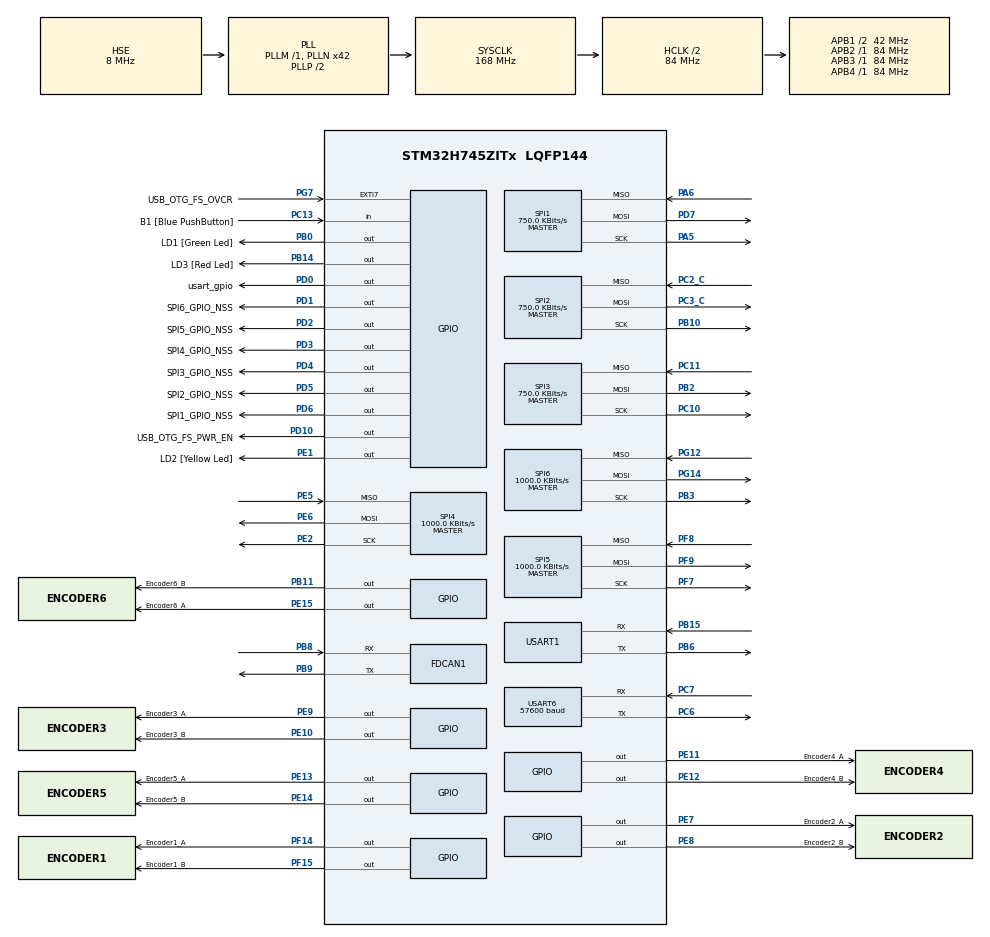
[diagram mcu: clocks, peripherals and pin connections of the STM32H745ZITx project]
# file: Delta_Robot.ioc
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CortexM4.IPs=FATFS_M4\:I,FREERTOS_M4\:I,IWDG2\:I,RCC,WWDG2\:I,DMA,BDMA,MDMA,NVIC2\:I,DEBUG,USB_DEVICE_M4\:I,USB_HOST_M4\:I,PDM2PCM_M4\:I,PWR,RESMGR_UTILITY,SYS_M4\:I,CORTEX_M4\:I,OPENAMP_M4\:I,VREFBUF,GPIO,TIM7
CortexM7.IPs=FATFS_M7\:I,FREERTOS_M7\:I,IWDG1\:I,RCC\:I,WWDG1\:I,DMA\:I,BDMA\:I,MDMA\:I,NVIC1\:I,SYS\:I,CORTEX_M7\:I,DEBUG\:I,USB_DEVICE_M7\:I,USB_HOST_M7\:I,PDM2PCM_M7\:I,PWR\:I,RESMGR_UTILITY\:I,OPENAMP_M7\:I,VREFBUF\:I,GPIO\:I,FDCAN1\:I,SPI1\:I,SPI2\:I,SPI3\:I,SPI4\:I,SPI5\:I,SPI6\:I,USART1\:I,TIM7\:I,USART6\:I
Dma.Request0=USART1_TX
Dma.Request1=USART1_RX
Dma.Request2=USART6_RX
Dma.Request3=USART6_TX
Dma.USART1_RX.1.Direction=DMA_PERIPH_TO_MEMORY
Dma.USART1_RX.1.EventEnable=DISABLE
Dma.USART1_RX.1.FIFOMode=DMA_FIFOMODE_DISABLE
Dma.USART1_RX.1.Instance=DMA1_Stream1
Dma.USART1_RX.1.MemDataAlignment=DMA_MDATAALIGN_BYTE
Dma.USART1_RX.1.MemInc=DMA_MINC_ENABLE
Dma.USART1_RX.1.Mode=DMA_CIRCULAR
Dma.USART1_RX.1.PeriphDataAlignment=DMA_PDATAALIGN_BYTE
Dma.USART1_RX.1.PeriphInc=DMA_PINC_DISABLE
Dma.USART1_RX.1.Polarity=HAL_DMAMUX_REQ_GEN_RISING
Dma.USART1_RX.1.Priority=DMA_PRIORITY_LOW
Dma.USART1_RX.1.RequestNumber=1
Dma.USART1_RX.1.SignalID=NONE
Dma.USART1_RX.1.SyncEnable=DISABLE
Dma.USART1_RX.1.SyncPolarity=HAL_DMAMUX_SYNC_NO_EVENT
Dma.USART1_RX.1.SyncRequestNumber=1
Dma.USART1_RX.1.SyncSignalID=NONE
Dma.USART1_TX.0.Direction=DMA_MEMORY_TO_PERIPH
Dma.USART1_TX.0.EventEnable=DISABLE
Dma.USART1_TX.0.FIFOMode=DMA_FIFOMODE_DISABLE
Dma.USART1_TX.0.Instance=DMA1_Stream0
Dma.USART1_TX.0.MemDataAlignment=DMA_MDATAALIGN_BYTE
Dma.USART1_TX.0.MemInc=DMA_MINC_ENABLE
Dma.USART1_TX.0.Mode=DMA_NORMAL
Dma.USART1_TX.0.PeriphDataAlignment=DMA_PDATAALIGN_BYTE
Dma.USART1_TX.0.PeriphInc=DMA_PINC_DISABLE
Dma.USART1_TX.0.Polarity=HAL_DMAMUX_REQ_GEN_RISING
Dma.USART1_TX.0.Priority=DMA_PRIORITY_LOW
Dma.USART1_TX.0.RequestNumber=1
Dma.USART1_TX.0.SignalID=NONE
Dma.USART1_TX.0.SyncEnable=DISABLE
Dma.USART1_TX.0.SyncPolarity=HAL_DMAMUX_SYNC_NO_EVENT
Dma.USART1_TX.0.SyncRequestNumber=1
Dma.USART1_TX.0.SyncSignalID=NONE
Dma.USART6_RX.2.Direction=DMA_PERIPH_TO_MEMORY
Dma.USART6_RX.2.EventEnable=DISABLE
Dma.USART6_RX.2.FIFOMode=DMA_FIFOMODE_DISABLE
Dma.USART6_RX.2.Instance=DMA1_Stream2
Dma.USART6_RX.2.MemDataAlignment=DMA_MDATAALIGN_BYTE
Dma.USART6_RX.2.MemInc=DMA_MINC_ENABLE
Dma.USART6_RX.2.Mode=DMA_CIRCULAR
Dma.USART6_RX.2.PeriphDataAlignment=DMA_PDATAALIGN_BYTE
Dma.USART6_RX.2.PeriphInc=DMA_PINC_DISABLE
Dma.USART6_RX.2.Polarity=HAL_DMAMUX_REQ_GEN_RISING
Dma.USART6_RX.2.Priority=DMA_PRIORITY_LOW
Dma.USART6_RX.2.RequestNumber=1
Dma.USART6_RX.2.SignalID=NONE
Dma.USART6_RX.2.SyncEnable=DISABLE
Dma.USART6_RX.2.SyncPolarity=HAL_DMAMUX_SYNC_NO_EVENT
Dma.USART6_RX.2.SyncRequestNumber=1
Dma.USART6_RX.2.SyncSignalID=NONE
Dma.USART6_TX.3.Direction=DMA_MEMORY_TO_PERIPH
Dma.USART6_TX.3.EventEnable=DISABLE
Dma.USART6_TX.3.FIFOMode=DMA_FIFOMODE_DISABLE
Dma.USART6_TX.3.Instance=DMA1_Stream3
Dma.USART6_TX.3.MemDataAlignment=DMA_MDATAALIGN_BYTE
Dma.USART6_TX.3.MemInc=DMA_MINC_ENABLE
Dma.USART6_TX.3.Mode=DMA_NORMAL
Dma.USART6_TX.3.PeriphDataAlignment=DMA_PDATAALIGN_BYTE
Dma.USART6_TX.3.PeriphInc=DMA_PINC_DISABLE
Dma.USART6_TX.3.Polarity=HAL_DMAMUX_REQ_GEN_RISING
Dma.USART6_TX.3.Priority=DMA_PRIORITY_LOW
Dma.USART6_TX.3.RequestNumber=1
Dma.USART6_TX.3.SignalID=NONE
Dma.USART6_TX.3.SyncEnable=DISABLE
Dma.USART6_TX.3.SyncPolarity=HAL_DMAMUX_SYNC_NO_EVENT
Dma.USART6_TX.3.SyncRequestNumber=1
Dma.USART6_TX.3.SyncSignalID=NONE
FDCAN1.AutoRetransmission=ENABLE
FDCAN1.CalculateBaudRateNominal=1000000
FDCAN1.CalculateTimeBitNominal=1000
FDCAN1.CalculateTimeQuantumNominal=41.666666666666664
FDCAN1.DataPrescaler=1
FDCAN1.DataTimeSeg1=6
FDCAN1.DataTimeSeg2=1
FDCAN1.ExtFiltersNbr=8
FDCAN1.FrameFormat=FDCAN_FRAME_FD_BRS
FDCAN1.NominalPrescaler=1
FDCAN1.NominalSyncJumpWidth=3
FDCAN1.NominalTimeSeg1=20
FDCAN1.NominalTimeSeg2=3
FDCAN1.RxBufferSize=FDCAN_DATA_BYTES_64
FDCAN1.RxBuffersNbr=4
FDCAN1.RxFifo0ElmtSize=FDCAN_DATA_BYTES_64
FDCAN1.RxFifo0ElmtsNbr=4
FDCAN1.RxFifo1ElmtSize=FDCAN_DATA_BYTES_64
FDCAN1.RxFifo1ElmtsNbr=4
FDCAN1.StdFiltersNbr=20
FDCAN1.TxBuffersNbr=4
FDCAN1.TxElmtSize=FDCAN_DATA_BYTES_64
FDCAN1.TxEventsNbr=4
FDCAN1.TxFifoQueueElmtsNbr=4
Mcu.Family=STM32H7
Mcu.Name=STM32H745ZITx
Mcu.Package=LQFP144
NVIC1.DMA1_Stream0_IRQn=true\:0\:0\:false\:false\:true\:false\:true\:true
NVIC1.DMA1_Stream1_IRQn=true\:0\:0\:false\:false\:true\:false\:true\:true
NVIC1.DMA1_Stream2_IRQn=true\:0\:0\:false\:false\:true\:false\:true\:true
NVIC1.DMA1_Stream3_IRQn=true\:0\:0\:false\:false\:true\:false\:true\:true
NVIC1.FDCAN1_IT0_IRQn=true\:0\:0\:false\:false\:true\:true\:true\:true
NVIC1.FDCAN1_IT1_IRQn=true\:0\:0\:false\:false\:true\:true\:true\:true
NVIC1.FDCAN_CAL_IRQn=true\:0\:0\:false\:false\:true\:true\:true\:true
NVIC1.PriorityGroup=NVIC_PRIORITYGROUP_4
NVIC1.TIM7_IRQn=true\:0\:0\:false\:false\:true\:true\:true\:true
NVIC1.USART1_IRQn=true\:0\:0\:false\:false\:true\:true\:true\:true
NVIC1.USART6_IRQn=true\:0\:0\:false\:false\:true\:true\:true\:true
NVIC2.PriorityGroup=NVIC_PRIORITYGROUP_4
PA1.PinAttribute=CortexM4
PA1.Signal=ETH_REF_CLK
PA11.PinAttribute=CortexM7
PA11.Signal=USB_OTG_FS_DM
PA12.PinAttribute=CortexM7
PA12.Signal=USB_OTG_FS_DP
PA2.PinAttribute=CortexM4
PA2.Signal=ETH_MDIO
PA5.Mode=Full_Duplex_Master
PA5.PinAttribute=CortexM7
PA5.Signal=SPI1_SCK
PA6.Mode=Full_Duplex_Master
PA6.PinAttribute=CortexM7
PA6.Signal=SPI1_MISO
PA7.PinAttribute=CortexM4
PA7.Signal=ETH_CRS_DV
PA8.PinAttribute=CortexM7
PA8.Signal=USB_OTG_FS_SOF
PA9.PinAttribute=CortexM7
PA9.Signal=USB_OTG_FS_VBUS
PB0.GPIO_Label=LD1 [Green Led]
PB0.PinAttribute=Free
PB0.Signal=GPIO_Output
PB10.Mode=Full_Duplex_Master
PB10.PinAttribute=CortexM7
PB10.Signal=SPI2_SCK
PB11.GPIO_Label=Encoder6_B
PB11.PinAttribute=Free
PB11.Signal=GPIO_Output
PB13.PinAttribute=CortexM4
PB13.Signal=ETH_TXD1
PB14.GPIO_Label=LD3 [Red Led]
PB14.PinAttribute=Free
PB14.Signal=GPIO_Output
PB15.Mode=Asynchronous
PB15.PinAttribute=CortexM7
PB15.Signal=USART1_RX
PB2.Mode=Full_Duplex_Master
PB2.PinAttribute=CortexM7
PB2.Signal=SPI3_MOSI
PB3\ (JTDO/TRACESWO).Mode=Full_Duplex_Master
PB3\ (JTDO/TRACESWO).PinAttribute=CortexM7
PB3\ (JTDO/TRACESWO).Signal=SPI6_SCK
PB6.Mode=Asynchronous
PB6.PinAttribute=CortexM7
PB6.Signal=USART1_TX
PB8.Mode=FDCAN_Activate
PB8.PinAttribute=CortexM7
PB8.Signal=FDCAN1_RX
PB9.Mode=FDCAN_Activate
PB9.PinAttribute=CortexM7
PB9.Signal=FDCAN1_TX
PC1.PinAttribute=CortexM4
PC1.Signal=ETH_MDC
PC10.Mode=Full_Duplex_Master
PC10.PinAttribute=CortexM7
PC10.Signal=SPI3_SCK
PC11.Mode=Full_Duplex_Master
PC11.PinAttribute=CortexM7
PC11.Signal=SPI3_MISO
PC13.GPIO_Label=B1 [Blue PushButton]
PC13.PinAttribute=Free
PC13.Signal=GPIO_Input
PC14-OSC32_IN\ (OSC32_IN).Mode=LSE-External-Oscillator
PC14-OSC32_IN\ (OSC32_IN).PinAttribute=CortexM7
PC14-OSC32_IN\ (OSC32_IN).Signal=RCC_OSC32_IN
PC15-OSC32_OUT\ (OSC32_OUT).Mode=LSE-External-Oscillator
PC15-OSC32_OUT\ (OSC32_OUT).PinAttribute=CortexM7
PC15-OSC32_OUT\ (OSC32_OUT).Signal=RCC_OSC32_OUT
PC2_C.Mode=Full_Duplex_Master
PC2_C.PinAttribute=CortexM7
PC2_C.Signal=SPI2_MISO
PC3_C.Mode=Full_Duplex_Master
PC3_C.PinAttribute=CortexM7
PC3_C.Signal=SPI2_MOSI
PC4.PinAttribute=CortexM4
PC4.Signal=ETH_RXD0
PC5.PinAttribute=CortexM4
PC5.Signal=ETH_RXD1
PC6.Mode=Asynchronous
PC6.PinAttribute=CortexM7
PC6.Signal=USART6_TX
PC7.Mode=Asynchronous
PC7.PinAttribute=CortexM7
PC7.Signal=USART6_RX
PD0.GPIO_Label=usart_gpio
PD0.PinAttribute=Free
PD0.Signal=GPIO_Output
PD1.GPIO_Label=SPI6_GPIO_NSS
PD1.GPIO_Speed=GPIO_SPEED_FREQ_HIGH
PD1.PinAttribute=Free
PD1.Signal=GPIO_Output
PD10.GPIO_Label=USB_OTG_FS_PWR_EN
PD10.PinAttribute=Free
PD10.Signal=GPIO_Output
PD2.GPIO_Label=SPI5_GPIO_NSS
PD2.GPIO_Speed=GPIO_SPEED_FREQ_HIGH
PD2.PinAttribute=Free
PD2.Signal=GPIO_Output
PD3.GPIO_Label=SPI4_GPIO_NSS
PD3.GPIO_Speed=GPIO_SPEED_FREQ_HIGH
PD3.PinAttribute=Free
PD3.Signal=GPIO_Output
PD4.GPIO_Label=SPI3_GPIO_NSS
PD4.GPIO_Speed=GPIO_SPEED_FREQ_HIGH
PD4.PinAttribute=Free
PD4.Signal=GPIO_Output
PD5.GPIO_Label=SPI2_GPIO_NSS
PD5.GPIO_Speed=GPIO_SPEED_FREQ_HIGH
PD5.PinAttribute=Free
PD5.Signal=GPIO_Output
PD6.GPIO_Label=SPI1_GPIO_NSS
PD6.GPIO_Speed=GPIO_SPEED_FREQ_HIGH
PD6.PinAttribute=Free
PD6.Signal=GPIO_Output
PD7.Mode=Full_Duplex_Master
PD7.PinAttribute=CortexM7
PD7.Signal=SPI1_MOSI
PD8.GPIO_Label=STLINK_RX
PD8.PinAttribute=CortexM7
PD8.Signal=USART3_TX
PD9.GPIO_Label=STLINK_TX
PD9.PinAttribute=CortexM7
PD9.Signal=USART3_RX
PE1.GPIO_Label=LD2 [Yellow Led]
PE1.PinAttribute=Free
PE1.Signal=GPIO_Output
PE10.GPIO_Label=Encoder3_B
PE10.PinAttribute=Free
PE10.Signal=GPIO_Output
PE11.GPIO_Label=Encoder4_A
PE11.PinAttribute=Free
PE11.Signal=GPIO_Output
PE12.GPIO_Label=Encoder4_B
PE12.PinAttribute=Free
PE12.Signal=GPIO_Output
PE13.GPIO_Label=Encoder5_A
PE13.PinAttribute=Free
PE13.Signal=GPIO_Output
PE14.GPIO_Label=Encoder5_B
PE14.PinAttribute=Free
PE14.Signal=GPIO_Output
PE15.GPIO_Label=Encoder6_A
PE15.PinAttribute=Free
PE15.Signal=GPIO_Output
PE2.Mode=Full_Duplex_Master
PE2.PinAttribute=CortexM7
PE2.Signal=SPI4_SCK
PE5.Mode=Full_Duplex_Master
PE5.PinAttribute=CortexM7
PE5.Signal=SPI4_MISO
PE6.Mode=Full_Duplex_Master
PE6.PinAttribute=CortexM7
PE6.Signal=SPI4_MOSI
PE7.GPIO_Label=Encoder2_A
PE7.PinAttribute=Free
PE7.Signal=GPIO_Output
PE8.GPIO_Label=Encoder2_B
PE8.PinAttribute=Free
PE8.Signal=GPIO_Output
PE9.GPIO_Label=Encoder3_A
PE9.PinAttribute=Free
PE9.Signal=GPIO_Output
PF14.GPIO_Label=Encoder1_A
PF14.PinAttribute=Free
PF14.Signal=GPIO_Output
PF15.GPIO_Label=Encoder1_B
PF15.PinAttribute=Free
PF15.Signal=GPIO_Output
PF7.Mode=Full_Duplex_Master
PF7.PinAttribute=CortexM7
PF7.Signal=SPI5_SCK
PF8.Mode=Full_Duplex_Master
PF8.PinAttribute=CortexM7
PF8.Signal=SPI5_MISO
PF9.Mode=Full_Duplex_Master
PF9.PinAttribute=CortexM7
PF9.Signal=SPI5_MOSI
PG11.PinAttribute=CortexM4
PG11.Signal=ETH_TX_EN
PG12.Mode=Full_Duplex_Master
PG12.PinAttribute=CortexM7
PG12.Signal=SPI6_MISO
PG13.PinAttribute=CortexM4
PG13.Signal=ETH_TXD0
PG14.Mode=Full_Duplex_Master
PG14.PinAttribute=CortexM7
PG14.Signal=SPI6_MOSI
PG7.GPIO_Label=USB_OTG_FS_OVCR
PG7.PinAttribute=Free
PG7.Signal=GPXTI7
PH0-OSC_IN\ (PH0).Mode=HSE-External-Clock-Source
PH0-OSC_IN\ (PH0).PinAttribute=CortexM7
PH0-OSC_IN\ (PH0).Signal=RCC_OSC_IN
PH1-OSC_OUT\ (PH1).PinAttribute=CortexM7
PH1-OSC_OUT\ (PH1).Signal=RCC_OSC_OUT
ProjectManager.HeapSize=M4-0x200,M7-0x200
ProjectManager.StackSize=M4-0x400,M7-0x400
ProjectManager.TargetToolchain=STM32CubeIDE
RCC.ADCFreq_Value=16125000
RCC.APB1Freq_Value=42000000
RCC.APB2Freq_Value=84000000
RCC.APB3Freq_Value=84000000
RCC.APB4Freq_Value=84000000
RCC.CortexFreq_Value=168000000
RCC.D2PPRE1=RCC_APB1_DIV2
RCC.DIVM1=1
RCC.DIVM3=1
RCC.DIVN1=42
RCC.DIVN3=18
RCC.DIVQ1=14
RCC.DIVQ3=3
RCC.HCLKFreq_Value=84000000
RCC.HPRE=RCC_HCLK_DIV2
RCC.HSE_VALUE=8000000
RCC.HSIDiv=RCC_PLLSAIDIVR_2
RCC.PLL2FRACN=0
RCC.PLL3FRACN=6144
RCC.PLLFRACN=0
RCC.PLLSourceVirtual=RCC_PLLSOURCE_HSE
RCC.SPI6CLockSelection=RCC_SPI6CLKSOURCE_HSE
RCC.SYSCLKFreq_VALUE=168000000
RCC.SYSCLKSource=RCC_SYSCLKSOURCE_PLLCLK
RCC.Spi45ClockSelection=RCC_SPI45CLKSOURCE_HSE
RCC.SupplySource=PWR_DIRECT_SMPS_SUPPLY
RCC.USART16CLockSelection=RCC_USART16CLKSOURCE_HSI
RCC.USBCLockSelection=RCC_USBCLKSOURCE_PLL3
RCC.USBFreq_Value=50000000
SPI1.BaudRatePrescaler=SPI_BAUDRATEPRESCALER_32
SPI1.CalculateBaudRate=750.0 KBits/s
SPI1.DataSize=SPI_DATASIZE_8BIT
SPI1.Direction=SPI_DIRECTION_2LINES
SPI1.MasterKeepIOState=SPI_MASTER_KEEP_IO_STATE_ENABLE
SPI1.Mode=SPI_MODE_MASTER
SPI1.VirtualType=VM_MASTER
SPI2.BaudRatePrescaler=SPI_BAUDRATEPRESCALER_32
SPI2.CalculateBaudRate=750.0 KBits/s
SPI2.DataSize=SPI_DATASIZE_8BIT
SPI2.Direction=SPI_DIRECTION_2LINES
SPI2.MasterKeepIOState=SPI_MASTER_KEEP_IO_STATE_ENABLE
SPI2.Mode=SPI_MODE_MASTER
SPI2.VirtualType=VM_MASTER
SPI3.BaudRatePrescaler=SPI_BAUDRATEPRESCALER_32
SPI3.CalculateBaudRate=750.0 KBits/s
SPI3.DataSize=SPI_DATASIZE_8BIT
SPI3.Direction=SPI_DIRECTION_2LINES
SPI3.MasterKeepIOState=SPI_MASTER_KEEP_IO_STATE_ENABLE
SPI3.Mode=SPI_MODE_MASTER
SPI3.VirtualType=VM_MASTER
SPI4.BaudRatePrescaler=SPI_BAUDRATEPRESCALER_8
SPI4.CalculateBaudRate=1000.0 KBits/s
SPI4.DataSize=SPI_DATASIZE_8BIT
SPI4.Direction=SPI_DIRECTION_2LINES
SPI4.MasterKeepIOState=SPI_MASTER_KEEP_IO_STATE_ENABLE
SPI4.Mode=SPI_MODE_MASTER
SPI4.VirtualType=VM_MASTER
SPI5.BaudRatePrescaler=SPI_BAUDRATEPRESCALER_8
SPI5.CalculateBaudRate=1000.0 KBits/s
SPI5.DataSize=SPI_DATASIZE_8BIT
SPI5.Direction=SPI_DIRECTION_2LINES
SPI5.MasterKeepIOState=SPI_MASTER_KEEP_IO_STATE_ENABLE
SPI5.Mode=SPI_MODE_MASTER
SPI5.VirtualType=VM_MASTER
SPI6.BaudRatePrescaler=SPI_BAUDRATEPRESCALER_8
SPI6.CalculateBaudRate=1000.0 KBits/s
SPI6.DataSize=SPI_DATASIZE_8BIT
SPI6.Direction=SPI_DIRECTION_2LINES
SPI6.MasterKeepIOState=SPI_MASTER_KEEP_IO_STATE_ENABLE
SPI6.Mode=SPI_MODE_MASTER
SPI6.VirtualType=VM_MASTER
TIM7.Period=99
TIM7.Prescaler=83
TIM7.TIM_MasterOutputTrigger=TIM_TRGO_UPDATE
USART1.OverrunDisableParam=ADVFEATURE_OVERRUN_DISABLE
USART1.VirtualMode-Asynchronous=VM_ASYNC
USART6.BaudRate=57600
USART6.VirtualMode-Asynchronous=VM_ASYNC
VP_SYS_M4_VS_Systick.Mode=SysTick
VP_TIM7_VS_ClockSourceINT.Mode=Enable_Timer
board=NUCLEO-H745ZI-Q

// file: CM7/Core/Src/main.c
/* USER CODE BEGIN Header */
/**
 ******************************************************************************
 * @file           : main.c
 * @brief          : Main program body
 ******************************************************************************
 * @attention
 *
 * Copyright (c) 2023 STMicroelectronics.
 * All rights reserved.
 *
 * This software is licensed under terms that can be found in the LICENSE file
 * in the root directory of this software component.
 * If no LICENSE file comes with this software, it is provided AS-IS.
 *
 ******************************************************************************
 */
/* USER CODE END Header */
#include "main.h"
#include "dma.h"
#include "fdcan.h"
#include "spi.h"
#include "tim.h"
#include "usart.h"
#include "gpio.h"

/* USER CODE BEGIN Includes */
// FDCAN1 Defines
#include "absolute_encoder.h"
#include "motor_control.h"
#include "string.h"
#include "stdio.h"
#include "stdlib.h"
#include "stdint.h"

/* USER CODE END Includes */

/* USER CODE BEGIN PD */

#ifndef HSEM_ID_0
#define HSEM_ID_0 (0U) /* HW semaphore 0*/
#endif
/* USER CODE END PD */

/* USER CODE BEGIN PV */

//uint8_t TxData_Node1_To_Node2[64] = { 0x10, 0x32, 0x54, 0x76, 0x98, 0x00, 0x11,
//		0x22, 0x33, 0x44, 0x55, 0x66 };
//uint8_t Motor_Stator[1] = { 0x00 };
//uint8_t Motor_Operation[2] = { 0x01, 0x00 };
//uint8_t Motor_Torque[6] = { 0xE8, 0x03, 0x00, 0x00, 0x00, 0x00 };
//uint8_t RxData_From_Node1[64];
//extern spiAbsoluteEncoder absoluteEn_1;
//extern spiAbsoluteEncoder absoluteEn_2;
//extern spiAbsoluteEncoder absoluteEn_3;
//uint8_t hexa2[2] = { 0x00, 0x00 };
//uint8_t hexa3[2] = { 0x00, 0x00 };
//uint8_t hexa_final[6] = { 0x00, 0x00, 0x00, 0x00, 0x00, 0x00 };
//int Actuator_flag = 0;
//int Motor_flag = 0;
//int imp_torque_Tx_buffer[24] = { 0, };
//int RAMP = 300;
//int Tx_start = 0;
//int Rx_start = 0;
//int Tx_cnt = 0;
//uint8_t motor_state[6] = { 0x00, };
//uint8_t Tx_data[18] = { 0, };
FDCAN_FilterTypeDef sFilterConfig;
FDCAN_TxHeaderTypeDef TxHeader;
FDCAN_RxHeaderTypeDef RxHeader;

Impedance imp_1;
Impedance imp_2;
Impedance imp_3;

uint8_t RxData_From_Node2[12];
uint32_t val_1[3] = { 0, };
uint32_t val_2[3] = { 0, };
uint32_t val_3[3] = { 0, };

uint8_t Motor1[12] = { 0, };
uint8_t Motor2[12] = { 0, };
uint8_t Motor3[12] = { 0, };

int SPI2Test = 0;
int MAINTest = 0;
int Motor_Degree = 0;

extern uint8_t Rx_buffer[24] = { 0, };
int Rx_imp_data[24] = { 0, };
char Tx_buffer[18] = { 0, };

int A_buffer = 0;
int A_flag = 0;
extern int mode_switch = 0;

int vel_ctl_2_kp_tuning = 0;

/* USER CODE END PV */

void SystemClock_Config(void);

/* USER CODE BEGIN 0 */

void HAL_FDCAN_RxFifo0Callback(FDCAN_HandleTypeDef *hfdcan, uint32_t RxFifo0ITs) {

	if (HAL_OK
			== HAL_FDCAN_GetRxMessage(&hfdcan1, FDCAN_RX_FIFO0, &RxHeader,
					RxData_From_Node2)) {
		if (RxHeader.Identifier == 385) {
			Motor1[0] = RxData_From_Node2[0];
			Motor1[1] = RxData_From_Node2[1];
			Motor1[2] = RxData_From_Node2[2];
			Motor1[3] = RxData_From_Node2[3];
			Motor1[4] = RxData_From_Node2[4];
			Motor1[5] = RxData_From_Node2[5];
			Motor1[6] = RxData_From_Node2[6];
			Motor1[7] = RxData_From_Node2[7];
			Motor1[8] = RxData_From_Node2[8];
			Motor1[9] = RxData_From_Node2[9];
			Motor1[10] = RxData_From_Node2[10];
			Motor1[11] = RxData_From_Node2[11];

		} else if (RxHeader.Identifier == 386) {
			Motor2[0] = RxData_From_Node2[0];
			Motor2[1] = RxData_From_Node2[1];
			Motor2[2] = RxData_From_Node2[2];
			Motor2[3] = RxData_From_Node2[3];
			Motor2[4] = RxData_From_Node2[4];
			Motor2[5] = RxData_From_Node2[5];
			Motor2[6] = RxData_From_Node2[6];
			Motor2[7] = RxData_From_Node2[7];
			Motor2[8] = RxData_From_Node2[8];
			Motor2[9] = RxData_From_Node2[9];
			Motor2[10] = RxData_From_Node2[10];
			Motor2[11] = RxData_From_Node2[11];

		} else if (RxHeader.Identifier == 387) {
			Motor3[0] = RxData_From_Node2[0];
			Motor3[1] = RxData_From_Node2[1];
			Motor3[2] = RxData_From_Node2[2];
			Motor3[3] = RxData_From_Node2[3];
			Motor3[4] = RxData_From_Node2[4];
			Motor3[5] = RxData_From_Node2[5];
			Motor3[6] = RxData_From_Node2[6];
			Motor3[7] = RxData_From_Node2[7];
			Motor3[8] = RxData_From_Node2[8];
			Motor3[9] = RxData_From_Node2[9];
			Motor3[10] = RxData_From_Node2[10];
			Motor3[11] = RxData_From_Node2[11];
		}

		val_1[0] = (Motor1[0] << 0) | (Motor1[1] << 8) | (Motor1[2] << 16)
				| (Motor1[3] << 24);
		val_1[1] = (Motor1[4] << 0) | (Motor1[5] << 8) | (Motor1[6] << 16)
				| (Motor1[7] << 24);
		val_1[2] = (Motor1[8] << 0) | (Motor1[9] << 8) | (Motor1[10] << 16)
				| (Motor1[11] << 24);

		val_2[0] = (Motor2[0] << 0) | (Motor2[1] << 8) | (Motor2[2] << 16)
				| (Motor2[3] << 24);
		val_2[1] = (Motor2[4] << 0) | (Motor2[5] << 8) | (Motor2[6] << 16)
				| (Motor2[7] << 24);
		val_2[2] = (Motor2[8] << 0) | (Motor2[9] << 8) | (Motor2[10] << 16)
				| (Motor2[11] << 24);

		val_3[0] = (Motor3[0] << 0) | (Motor3[1] << 8) | (Motor3[2] << 16)
				| (Motor3[3] << 24);
		val_3[1] = (Motor3[4] << 0) | (Motor3[5] << 8) | (Motor3[6] << 16)
				| (Motor3[7] << 24);
		val_3[2] = (Motor3[8] << 0) | (Motor3[9] << 8) | (Motor3[10] << 16)
				| (Motor3[11] << 24);

		//m_state_1.angle = (*(float*) &val_1[0]) * (180.0f / M_PI); //* 180 / PI;
		m_state_1.velocity = *(float*) &val_1[1];
		m_state_1.torque = *(float*) &val_1[2];

		//m_state_2.angle = (*(float*) &val_2[0]) * (180.0f / M_PI); //* 180 / PI;
		m_state_2.velocity = *(float*) &val_2[1];
		m_state_2.torque = *(float*) &val_2[2];

		//m_state_3.angle = (*(float*) &val_3[0]) * (180.0f / M_PI); //* 180 / PI;
		m_state_3.velocity = *(float*) &val_3[1];
		m_state_3.torque = *(float*) &val_3[2];

	}

}
/* USER CODE END 0 */

int main(void) {
	/* USER CODE BEGIN 1 */

//	for(int i = 0; i < 24 < i==)
	Init_PID();

	/* USER CODE END 1 */
	/* USER CODE BEGIN Boot_Mode_Sequence_0 */
	int32_t timeout;
	/* USER CODE END Boot_Mode_Sequence_0 */

	/* USER CODE BEGIN Boot_Mode_Sequence_1 */
	/* Wait until CPU2 boots and enters in stop mode or timeout*/
	timeout = 0xFFFF;
	while ((__HAL_RCC_GET_FLAG(RCC_FLAG_D2CKRDY) != RESET) && (timeout-- > 0))
		;
	if (timeout < 0) {
		Error_Handler();
	}
	/* USER CODE END Boot_Mode_Sequence_1 */
	/* MCU Configuration--------------------------------------------------------*/

	/* Reset of all peripherals, Initializes the Flash interface and the Systick. */
	HAL_Init();

	/* Configure the system clock */
	SystemClock_Config();
	/* USER CODE BEGIN Boot_Mode_Sequence_2 */
	/* When system initialization is finished, Cortex-M7 will release Cortex-M4 by means of
	 HSEM notification */
	/*HW semaphore Clock enable*/
	__HAL_RCC_HSEM_CLK_ENABLE();
	/*Take HSEM */
	HAL_HSEM_FastTake(HSEM_ID_0);
	/*Release HSEM in order to notify the CPU2(CM4)*/
	HAL_HSEM_Release(HSEM_ID_0, 0);
	/* wait until CPU2 wakes up from stop mode */

	timeout = 0xFFFF;

	while ((__HAL_RCC_GET_FLAG(RCC_FLAG_D2CKRDY) == RESET) && (timeout-- > 0))
		;
	if (timeout < 0) {
		Error_Handler();
	}
	/* USER CODE END Boot_Mode_Sequence_2 */

	/* Initialize all configured peripherals */
	MX_GPIO_Init();
	MX_DMA_Init();
	MX_SPI1_Init();
	MX_SPI2_Init();
	MX_SPI3_Init();
	MX_SPI4_Init();
	MX_SPI5_Init();
	MX_SPI6_Init();
	MX_USART1_UART_Init();
	MX_TIM7_Init();
	MX_FDCAN1_Init();
	MX_USART6_UART_Init();
	/* USER CODE BEGIN 2 */

	HAL_TIM_Base_Start_IT(&htim7);

	spiAbsoluteEncoderInitialize(&absoluteEn_1);
	spiAbsoluteEncoderInitialize(&absoluteEn_2);
	spiAbsoluteEncoderInitialize(&absoluteEn_3);

	/* Configure standard ID reception filter to Rx Tx_buffer 0 */
	sFilterConfig.IdType = FDCAN_STANDARD_ID;
	sFilterConfig.FilterIndex = 0;
	sFilterConfig.FilterConfig = FDCAN_FILTER_TO_RXFIFO0;
	sFilterConfig.FilterType = FDCAN_FILTER_RANGE;
	sFilterConfig.FilterID1 = 0x000; //
	sFilterConfig.FilterID2 = 0xFFF; //

#if 0
  sFilterConfig.FilterID2 = 0x0; // Ignore because FDCAN_FILTER_TO_RXTx_buffer
#endif
	sFilterConfig.RxBufferIndex = 0;

	if (HAL_FDCAN_ConfigFilter(&hfdcan1, &sFilterConfig) != HAL_OK) {
		Error_Handler();
	}

	if (HAL_FDCAN_ConfigGlobalFilter(&hfdcan1, FDCAN_ACCEPT_IN_RX_FIFO0,
	FDCAN_ACCEPT_IN_RX_FIFO0, FDCAN_REJECT_REMOTE, FDCAN_REJECT_REMOTE)
			== HAL_OK) {
		Error_Handler();
	}

	if (HAL_FDCAN_ConfigInterruptLines(&hfdcan1,
	FDCAN_FLAG_RX_FIFO0_NEW_MESSAGE, FDCAN_INTERRUPT_LINE0) != HAL_OK) {
		Error_Handler();
	}

	if (HAL_FDCAN_ActivateNotification(&hfdcan1,
	FDCAN_FLAG_RX_FIFO0_NEW_MESSAGE, 0) != HAL_OK) {
		Error_Handler();
	}

	/* Send Tx Tx_buffer message */
	if (HAL_FDCAN_Start(&hfdcan1) != HAL_OK) {
		Error_Handler();
	}

	/* Polling for transmission complete on Tx_buffer index 0 */

	/* Polling for reception complete on Tx_buffer index 0 */

	/* USER CODE END 2 */

	/* Infinite loop */
	while (1) {

		pos_ctl_1.Kp = pos_test_pid.Kp;
		pos_ctl_1.Ki = pos_test_pid.Ki;
		pos_ctl_1.Kd = pos_test_pid.Kd;
		pos_ctl_1.output_limit = pos_test_pid.output_limit;
		pos_ctl_1.error_sum_limit = pos_test_pid.error_sum_limit;

		pos_ctl_2.Kp = pos_test_pid.Kp;
		pos_ctl_2.Ki = pos_test_pid.Ki;
		pos_ctl_2.Kd = pos_test_pid.Kd;
		pos_ctl_2.output_limit = pos_test_pid.output_limit;
		pos_ctl_2.error_sum_limit = pos_test_pid.error_sum_limit;

		pos_ctl_3.Kp = pos_test_pid.Kp;
		pos_ctl_3.Ki = pos_test_pid.Ki;
		pos_ctl_3.Kd = pos_test_pid.Kd;
		pos_ctl_3.output_limit = pos_test_pid.output_limit;
		pos_ctl_3.error_sum_limit = pos_test_pid.error_sum_limit;

		vel_ctl_1.Kp = vel_test_pid.Kp;
		vel_ctl_1.Ki = vel_test_pid.Ki;
		vel_ctl_1.Kd = vel_test_pid.Kd;
		vel_ctl_1.output_limit = vel_test_pid.output_limit;
		vel_ctl_1.error_sum_limit = vel_test_pid.error_sum_limit;

		vel_ctl_2.Kp = vel_test_pid.Kp + vel_ctl_2_kp_tuning;
		vel_ctl_2.Ki = vel_test_pid.Ki;
		vel_ctl_2.Kd = vel_test_pid.Kd;
		vel_ctl_2.output_limit = vel_test_pid.output_limit;
		vel_ctl_2.error_sum_limit = vel_test_pid.error_sum_limit;

		vel_ctl_3.Kp = vel_test_pid.Kp;
		vel_ctl_3.Ki = vel_test_pid.Ki;
		vel_ctl_3.Kd = vel_test_pid.Kd;
		vel_ctl_3.output_limit = vel_test_pid.output_limit;
		vel_ctl_3.error_sum_limit = vel_test_pid.error_sum_limit;

	}
}

void SystemClock_Config(void) {
	RCC_OscInitTypeDef RCC_OscInitStruct = { 0 };
	RCC_ClkInitTypeDef RCC_ClkInitStruct = { 0 };

	/** Supply configuration update enable
	 */
	HAL_PWREx_ConfigSupply(PWR_DIRECT_SMPS_SUPPLY);

	/** Configure the main internal regulator output voltage
	 */
	__HAL_PWR_VOLTAGESCALING_CONFIG(PWR_REGULATOR_VOLTAGE_SCALE3);

	while (!__HAL_PWR_GET_FLAG(PWR_FLAG_VOSRDY)) {
	}

	/** Initializes the RCC Oscillators according to the specified parameters
	 * in the RCC_OscInitTypeDef structure.
	 */
	RCC_OscInitStruct.OscillatorType = RCC_OSCILLATORTYPE_HSI
			| RCC_OSCILLATORTYPE_HSE;
	RCC_OscInitStruct.HSEState = RCC_HSE_BYPASS;
	RCC_OscInitStruct.HSIState = RCC_HSI_DIV2;
	RCC_OscInitStruct.HSICalibrationValue = RCC_HSICALIBRATION_DEFAULT;
	RCC_OscInitStruct.PLL.PLLState = RCC_PLL_ON;
	RCC_OscInitStruct.PLL.PLLSource = RCC_PLLSOURCE_HSE;
	RCC_OscInitStruct.PLL.PLLM = 1;
	RCC_OscInitStruct.PLL.PLLN = 42;
	RCC_OscInitStruct.PLL.PLLP = 2;
	RCC_OscInitStruct.PLL.PLLQ = 14;
	RCC_OscInitStruct.PLL.PLLR = 2;
	RCC_OscInitStruct.PLL.PLLRGE = RCC_PLL1VCIRANGE_3;
	RCC_OscInitStruct.PLL.PLLVCOSEL = RCC_PLL1VCOWIDE;
	RCC_OscInitStruct.PLL.PLLFRACN = 0;
	if (HAL_RCC_OscConfig(&RCC_OscInitStruct) != HAL_OK) {
		Error_Handler();
	}

	/** Initializes the CPU, AHB and APB buses clocks
	 */
	RCC_ClkInitStruct.ClockType = RCC_CLOCKTYPE_HCLK | RCC_CLOCKTYPE_SYSCLK
			| RCC_CLOCKTYPE_PCLK1 | RCC_CLOCKTYPE_PCLK2 | RCC_CLOCKTYPE_D3PCLK1
			| RCC_CLOCKTYPE_D1PCLK1;
	RCC_ClkInitStruct.SYSCLKSource = RCC_SYSCLKSOURCE_PLLCLK;
	RCC_ClkInitStruct.SYSCLKDivider = RCC_SYSCLK_DIV1;
	RCC_ClkInitStruct.AHBCLKDivider = RCC_HCLK_DIV2;
	RCC_ClkInitStruct.APB3CLKDivider = RCC_APB3_DIV1;
	RCC_ClkInitStruct.APB1CLKDivider = RCC_APB1_DIV2;
	RCC_ClkInitStruct.APB2CLKDivider = RCC_APB2_DIV1;
	RCC_ClkInitStruct.APB4CLKDivider = RCC_APB4_DIV1;

	if (HAL_RCC_ClockConfig(&RCC_ClkInitStruct, FLASH_LATENCY_1) != HAL_OK) {
		Error_Handler();
	}
}

/* USER CODE BEGIN 4 */
void HAL_UART_RxCpltCallback(UART_HandleTypeDef *huart) {

	for (int i = 0; i < sizeof(Rx_buffer); i++) {
		if (Rx_buffer[i] == 65) {
			A_flag = 1;
			A_buffer = i;
		}
	}

	if (A_flag == 1) {
		for (int j = 0; j < 24; j++) {
			if (A_buffer + j > 23) {
				Rx_imp_data[j] = (int) (int8_t) Rx_buffer[(A_buffer + j) - 24]
						- 48;
			} else {
				Rx_imp_data[j] = (int) (int8_t) Rx_buffer[A_buffer + j] - 48;
			}
		}

		//	// A 65, a 97
		for (int k = 1; k < 2; k++) {
			if (Rx_imp_data[0] == 17) {
				imp_1.theta = Rx_imp_data[k] * (10000)
						+ Rx_imp_data[k + 1] * (1000)
						+ Rx_imp_data[k + 2] * (100) + Rx_imp_data[k + 3] * (10)
						+ Rx_imp_data[k + 4];

				imp_2.theta = Rx_imp_data[k + 6] * (10000)
						+ Rx_imp_data[k + 7] * (1000)
						+ Rx_imp_data[k + 8] * (100) + Rx_imp_data[k + 9] * (10)
						+ Rx_imp_data[k + 10];

				imp_3.theta = Rx_imp_data[k + 12] * (10000)
						+ Rx_imp_data[k + 13] * (1000)
						+ Rx_imp_data[k + 14] * (100)
						+ Rx_imp_data[k + 15] * (10) + Rx_imp_data[k + 16];

				imp_1.F_flag = Rx_imp_data[k + 18];
				imp_2.F_flag = Rx_imp_data[k + 19];
				imp_3.F_flag = Rx_imp_data[k + 20];

				mode_switch = Rx_imp_data[k + 22];

				imp_1.theta = imp_1.theta / 100;
				imp_2.theta = imp_2.theta / 100;
				imp_3.theta = imp_3.theta / 100;
			} else {

			}
		}
		A_flag = 0;
	} else if (A_flag == 0) {
	}

}
/* USER CODE END 4 */

void Error_Handler(void) {
	/* USER CODE BEGIN Error_Handler_Debug */
	/* User can add his own implementation to report the HAL error return state */
//  __disable_irq();
//  while (1)
//  {
//  }
	/* USER CODE END Error_Handler_Debug */
}
